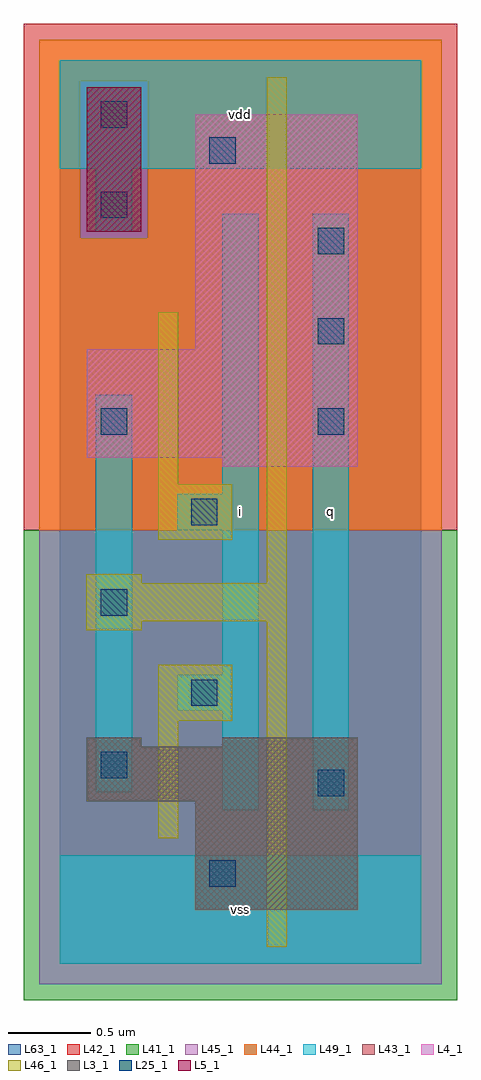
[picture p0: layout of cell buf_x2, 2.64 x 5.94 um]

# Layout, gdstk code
import gdstk
lib = gdstk.Library(unit=1e-6, precision=1e-09)
def R(c, l, rs):  # rectangles x0, y0, x1, y1
    for r in rs: c.add(gdstk.rectangle(r[:2], r[2:], *l))
def A(c, l, x, y, w, h, nx, ny, dx, dy):  # array of equal rectangles
    R(c, l, [(x+i*dx, y+j*dy, x+i*dx+w, y+j*dy+h) for i in range(nx) for j in range(ny)])
L3_1 = (3, 1)
L4_1 = (4, 1)
L5_1 = (5, 1)
L25_1 = (25, 1)
L41_1 = (41, 1)
L42_1 = (42, 1)
L43_1 = (43, 1)
L44_1 = (44, 1)
L45_1 = (45, 1)
L46_1 = (46, 1)
L49_1 = (49, 1)
L63_1 = (63, 1)

buf_x2 = lib.new_cell('buf_x2')
R(buf_x2, L3_1, [(0.825,0.33,1.815,0.99), (0.165,0.99,1.815,1.32), (0.165,1.32,0.495,1.375), (0.99,1.32,1.815,1.375)])
R(buf_x2, L4_1, [(0.99,3.025,1.815,3.08), (0.165,3.08,1.815,3.74), (0.825,3.74,1.815,5.17)])
R(buf_x2, L5_1, [(0.165,4.455,0.495,5.335)])
A(buf_x2, L25_1, 1.57, 3.22, 0.16, 0.16, 1, 3, 0, 0.55)
R(buf_x2, L25_1, [(0.91,0.47,1.07,0.63), (1.57,1.02,1.73,1.18), (0.25,1.13,0.41,1.29), (0.8,1.57,0.96,1.73), (0.25,2.12,0.41,2.28), (0.8,2.67,0.96,2.83), (0.25,3.22,0.41,3.38), (0.25,4.54,0.41,4.7), (0.91,4.87,1.07,5.03), (0.25,5.09,0.41,5.25)])
R(buf_x2, L41_1, [(-0.22,-0.22,2.42,2.64)])
R(buf_x2, L42_1, [(-0.22,2.64,2.42,5.72)])
R(buf_x2, L43_1, [(0.825,0.33,1.815,0.99), (0.165,0.99,1.815,1.32), (0.165,1.32,0.495,1.375), (0.99,1.32,1.815,1.375), (0.99,3.025,1.815,3.08), (0.165,3.08,1.815,3.74), (0.825,3.74,1.815,5.17), (0.165,4.455,0.495,5.335)])
R(buf_x2, L44_1, [(-0.125,2.64,2.325,4.415), (-0.125,4.415,0.125,5.375), (0.535,4.415,2.325,5.375), (-0.125,5.375,2.325,5.625)])
R(buf_x2, L45_1, [(-0.125,-0.125,2.325,2.64), (0.125,4.415,0.535,5.375)])
R(buf_x2, L46_1, [(1.26,0.105,1.38,2.085), (0.6,0.765,0.72,1.48), (0.6,1.48,1.05,1.82), (0.16,2.03,0.5,2.085), (0.16,2.085,1.38,2.315), (0.16,2.315,0.5,2.37), (1.26,2.315,1.38,5.395), (0.6,2.58,1.05,2.92), (0.6,2.92,0.72,3.965)])
R(buf_x2, L49_1, [(0,0,2.2,0.66), (0.99,0.935,1.21,1.54), (1.54,0.935,1.76,4.565), (0.22,1.045,0.44,3.465), (0.715,1.54,1.21,1.76), (0.99,1.76,1.21,2.64), (0.715,2.64,1.21,2.86), (0.99,2.86,1.21,4.565), (0.22,4.455,0.44,4.84), (0,4.84,2.2,5.5)])
R(buf_x2, L63_1, [(0,0,2.2,5.5)])
buf_x2.add(gdstk.Label('vss', (1.1,0.33), layer=49, texttype=1))
buf_x2.add(gdstk.Label('i', (1.1,2.75), layer=49, texttype=1))
buf_x2.add(gdstk.Label('vdd', (1.1,5.17), layer=49, texttype=1))
buf_x2.add(gdstk.Label('q', (1.65,2.75), layer=49, texttype=1))

lib.write_gds('buf_x2.gds')
